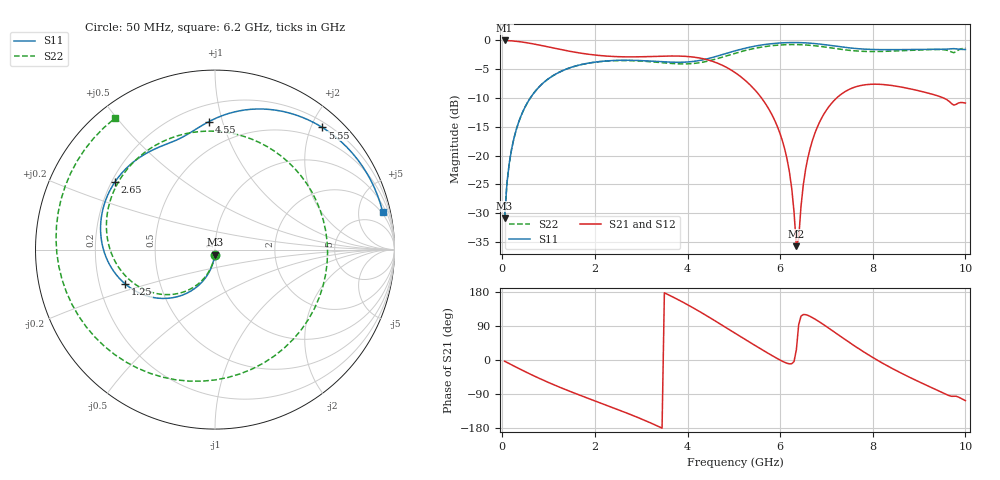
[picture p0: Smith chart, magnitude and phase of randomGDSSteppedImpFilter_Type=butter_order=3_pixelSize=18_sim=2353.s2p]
! freq	dB(S11)	phase(S11)	dB(S12)	phase(S12)
!  dB(S21)	phase(S21)	dB(S22)	phase(S22)
!S-par simulation data
#  GHz  S  DB  R 50
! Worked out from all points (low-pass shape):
!   200 points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, 50 MHz to 10 GHz, reference 50 ohm
!   highest |S21| = -0.01 dB at 50 MHz (marker M1); lowest = -35.7 dB at 6.35 GHz (marker M2)
!   |S21| within 3 dB of the highest: start of sweep to 4.226 GHz
!   lowest |S11| = -30.8 dB at 50 MHz (marker M3), VSWR 1.06, Z = 49.8 - j2.86 ohm
!   |S11| at or under -10 dB: start of sweep to 604.3 MHz
!   |S22| runs from -30.8 to -0.7 dB; largest |S21 - S12| = 0
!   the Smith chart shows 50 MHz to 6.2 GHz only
!   S11 on the Smith chart (normalised r, x): 50 MHz: 1.00, -0.06; 1.25 GHz: 0.31, -0.17; 2.65 GHz: 0.21, +0.29; 4.55 GHz: 0.31, +0.90; 5.55 GHz: 0.29, +2.18; 6.2 GHz: 1.76, +8.79
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0.05  -30.81 -93.3  -0.01 -3.2  -0.01 -3.2  -30.81 -93.6
0.15  -21.35 -99.7  -0.05 -9.6  -0.05 -9.6  -21.35 -100.5
0.4  -13.19 -114.6  -0.25 -25.1  -0.25 -25.1  -13.19 -116.8
1.25  -5.44 -158.9  -1.56 -72.4  -1.56 -72.4  -5.44 -166.9
1.75  -4.11 179.5  -2.28 -96.4  -2.28 -96.4  -4.12 166.5
2.65  -3.44 146.0  -2.85 -138.1  -2.85 -138.1  -3.49 116.8
3.4  -3.68 122.4  -2.75 -176.9  -2.75 -176.9  -3.83 63.3
4.05  -3.71 106.0  -2.82 142.5  -2.82 142.5  -4.05 -1.4
4.55  -2.93 92.8  -3.66 106.7  -3.66 106.7  -3.37 -60.7
5.05  -1.76 73.5  -5.71 68.9  -5.71 68.9  -2.17 -117.8
5.55  -0.86 48.7  -9.50 31.6  -9.50 31.6  -1.23 -169.0
5.85  -0.54 32.3  -13.33 9.9  -13.33 9.9  -0.89 161.9
6.2  -0.38 12.5  -22.81 -10.2  -22.81 -10.2  -0.72 127.4
6.35  -0.37 3.9  -35.71 26.8  -35.71 26.8  -0.72 112.1
6.55  -0.43 -7.6  -22.36 119.7  -22.36 119.7  -0.79 90.7
6.7  -0.51 -16.1  -17.28 111.7  -17.28 111.7  -0.89 73.8
7.05  -0.83 -35.2  -11.52 84.0  -11.52 84.0  -1.24 32.0
7.35  -1.16 -50.4  -9.16 58.5  -9.16 58.5  -1.59 -5.6
7.85  -1.53 -73.7  -7.68 17.9  -7.68 17.9  -1.91 -65.3
8.35  -1.60 -96.8  -7.76 -17.8  -7.76 -17.8  -1.87 -114.8
9.1  -1.57 -132.9  -8.95 -63.3  -8.95 -63.3  -1.62 -171.0
10  -1.58 179.5  -10.88 -107.2  -10.88 -107.2  -1.32 140.2
